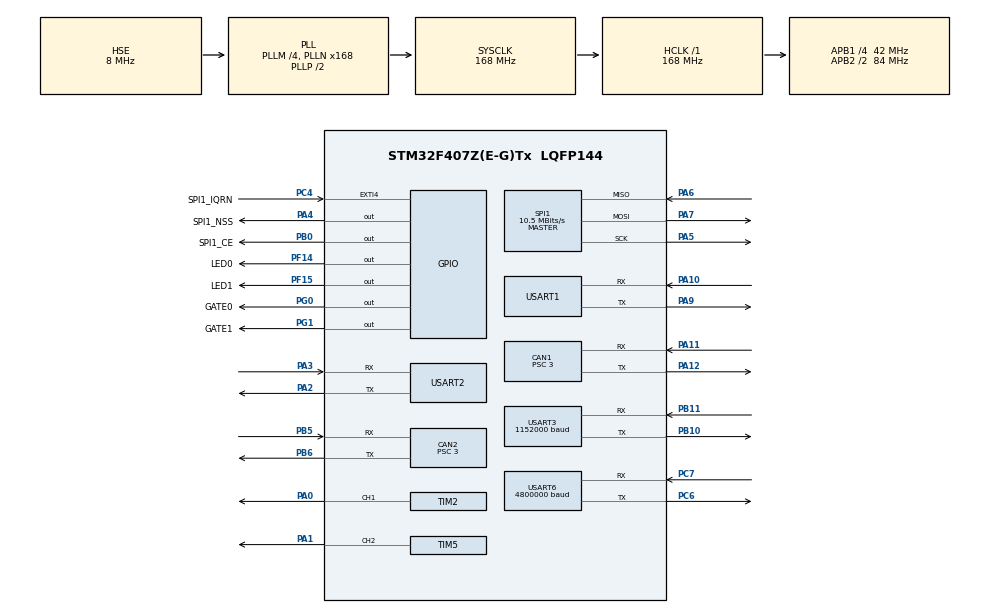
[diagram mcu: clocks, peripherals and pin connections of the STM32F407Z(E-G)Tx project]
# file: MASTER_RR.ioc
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CAN1.BS1=CAN_BS1_7TQ
CAN1.BS2=CAN_BS2_6TQ
CAN1.CalculateBaudRate=1000000
CAN1.CalculateTimeBit=1000
CAN1.CalculateTimeQuantum=71.42857142857143
CAN1.Prescaler=3
CAN2.BS1=CAN_BS1_7TQ
CAN2.BS2=CAN_BS2_6TQ
CAN2.CalculateBaudRate=1000000
CAN2.CalculateTimeBit=1000
CAN2.CalculateTimeQuantum=71.42857142857143
CAN2.Prescaler=3
Dma.Request0=USART1_TX
Dma.Request1=USART6_RX
Dma.Request2=USART6_TX
Dma.Request3=USART2_RX
Dma.Request4=USART3_RX
Dma.Request5=USART3_TX
Dma.Request6=USART2_TX
Dma.USART1_TX.0.Direction=DMA_MEMORY_TO_PERIPH
Dma.USART1_TX.0.FIFOMode=DMA_FIFOMODE_DISABLE
Dma.USART1_TX.0.Instance=DMA2_Stream7
Dma.USART1_TX.0.MemDataAlignment=DMA_MDATAALIGN_BYTE
Dma.USART1_TX.0.MemInc=DMA_MINC_ENABLE
Dma.USART1_TX.0.Mode=DMA_NORMAL
Dma.USART1_TX.0.PeriphDataAlignment=DMA_PDATAALIGN_BYTE
Dma.USART1_TX.0.PeriphInc=DMA_PINC_DISABLE
Dma.USART1_TX.0.Priority=DMA_PRIORITY_LOW
Dma.USART2_RX.3.Direction=DMA_PERIPH_TO_MEMORY
Dma.USART2_RX.3.FIFOMode=DMA_FIFOMODE_DISABLE
Dma.USART2_RX.3.Instance=DMA1_Stream5
Dma.USART2_RX.3.MemDataAlignment=DMA_MDATAALIGN_BYTE
Dma.USART2_RX.3.MemInc=DMA_MINC_ENABLE
Dma.USART2_RX.3.Mode=DMA_NORMAL
Dma.USART2_RX.3.PeriphDataAlignment=DMA_PDATAALIGN_BYTE
Dma.USART2_RX.3.PeriphInc=DMA_PINC_DISABLE
Dma.USART2_RX.3.Priority=DMA_PRIORITY_LOW
Dma.USART2_TX.6.Direction=DMA_MEMORY_TO_PERIPH
Dma.USART2_TX.6.FIFOMode=DMA_FIFOMODE_DISABLE
Dma.USART2_TX.6.Instance=DMA1_Stream6
Dma.USART2_TX.6.MemDataAlignment=DMA_MDATAALIGN_BYTE
Dma.USART2_TX.6.MemInc=DMA_MINC_ENABLE
Dma.USART2_TX.6.Mode=DMA_NORMAL
Dma.USART2_TX.6.PeriphDataAlignment=DMA_PDATAALIGN_BYTE
Dma.USART2_TX.6.PeriphInc=DMA_PINC_DISABLE
Dma.USART2_TX.6.Priority=DMA_PRIORITY_LOW
Dma.USART3_RX.4.Direction=DMA_PERIPH_TO_MEMORY
Dma.USART3_RX.4.FIFOMode=DMA_FIFOMODE_DISABLE
Dma.USART3_RX.4.Instance=DMA1_Stream1
Dma.USART3_RX.4.MemDataAlignment=DMA_MDATAALIGN_BYTE
Dma.USART3_RX.4.MemInc=DMA_MINC_ENABLE
Dma.USART3_RX.4.Mode=DMA_NORMAL
Dma.USART3_RX.4.PeriphDataAlignment=DMA_PDATAALIGN_BYTE
Dma.USART3_RX.4.PeriphInc=DMA_PINC_DISABLE
Dma.USART3_RX.4.Priority=DMA_PRIORITY_LOW
Dma.USART3_TX.5.Direction=DMA_MEMORY_TO_PERIPH
Dma.USART3_TX.5.FIFOMode=DMA_FIFOMODE_DISABLE
Dma.USART3_TX.5.Instance=DMA1_Stream3
Dma.USART3_TX.5.MemDataAlignment=DMA_MDATAALIGN_BYTE
Dma.USART3_TX.5.MemInc=DMA_MINC_ENABLE
Dma.USART3_TX.5.Mode=DMA_NORMAL
Dma.USART3_TX.5.PeriphDataAlignment=DMA_PDATAALIGN_BYTE
Dma.USART3_TX.5.PeriphInc=DMA_PINC_DISABLE
Dma.USART3_TX.5.Priority=DMA_PRIORITY_LOW
Dma.USART6_RX.1.Direction=DMA_PERIPH_TO_MEMORY
Dma.USART6_RX.1.FIFOMode=DMA_FIFOMODE_DISABLE
Dma.USART6_RX.1.Instance=DMA2_Stream1
Dma.USART6_RX.1.MemDataAlignment=DMA_MDATAALIGN_BYTE
Dma.USART6_RX.1.MemInc=DMA_MINC_ENABLE
Dma.USART6_RX.1.Mode=DMA_NORMAL
Dma.USART6_RX.1.PeriphDataAlignment=DMA_PDATAALIGN_BYTE
Dma.USART6_RX.1.PeriphInc=DMA_PINC_DISABLE
Dma.USART6_RX.1.Priority=DMA_PRIORITY_LOW
Dma.USART6_TX.2.Direction=DMA_MEMORY_TO_PERIPH
Dma.USART6_TX.2.FIFOMode=DMA_FIFOMODE_DISABLE
Dma.USART6_TX.2.Instance=DMA2_Stream6
Dma.USART6_TX.2.MemDataAlignment=DMA_MDATAALIGN_BYTE
Dma.USART6_TX.2.MemInc=DMA_MINC_ENABLE
Dma.USART6_TX.2.Mode=DMA_NORMAL
Dma.USART6_TX.2.PeriphDataAlignment=DMA_PDATAALIGN_BYTE
Dma.USART6_TX.2.PeriphInc=DMA_PINC_DISABLE
Dma.USART6_TX.2.Priority=DMA_PRIORITY_LOW
FREERTOS.Queues01=ResShootSpeedQueue,1,uint8_t,0,Dynamic,NULL,NULL;ResShootSignalQueue,1,uint8_t,0,Dynamic,NULL,NULL;ResClawPosQueue,1,uint8_t,0,Dynamic,NULL,NULL;A1ReadyQueue,1,uint8_t,0,Dynamic,NULL,NULL;NRF_RXQueue,1,RemoteRXSturct,0,Dynamic,NULL,NULL
FREERTOS.Tasks01=DebugTask,-2,256,StartDebugTask,Default,NULL,Dynamic,NULL,NULL;LEDTask,-2,128,LED,Default,NULL,Dynamic,NULL,NULL;manualCrolTask,3,512,manualCrol,Default,NULL,Dynamic,NULL,NULL;speedCtrlTask,3,1024,speedCtrl,Default,NULL,Dynamic,NULL,NULL;heartBeatTask,2,128,heartBeat,Default,NULL,Dynamic,NULL,NULL;NRF_Read,2,256,NRFTask,Default,NULL,Dynamic,NULL,NULL
FREERTOS.configENABLE_FPU=1
FREERTOS.configTOTAL_HEAP_SIZE=65535
Mcu.Family=STM32F4
Mcu.Name=STM32F407Z(E-G)Tx
Mcu.Package=LQFP144
NVIC.CAN1_RX0_IRQn=true\:5\:0\:false\:false\:true\:true\:true\:true\:true
NVIC.CAN2_RX0_IRQn=true\:5\:0\:false\:false\:true\:true\:true\:true\:true
NVIC.DMA1_Stream1_IRQn=true\:5\:0\:false\:false\:true\:true\:false\:true\:true
NVIC.DMA1_Stream3_IRQn=true\:5\:0\:false\:false\:true\:true\:false\:true\:true
NVIC.DMA1_Stream5_IRQn=true\:5\:0\:false\:false\:true\:true\:false\:true\:true
NVIC.DMA1_Stream6_IRQn=true\:5\:0\:false\:false\:true\:true\:false\:true\:true
NVIC.DMA2_Stream1_IRQn=true\:5\:0\:false\:false\:true\:true\:false\:true\:true
NVIC.DMA2_Stream6_IRQn=true\:5\:0\:false\:false\:true\:true\:false\:true\:true
NVIC.DMA2_Stream7_IRQn=true\:5\:0\:false\:false\:true\:true\:false\:true\:true
NVIC.PriorityGroup=NVIC_PRIORITYGROUP_4
NVIC.TIM7_IRQn=true\:15\:0\:false\:false\:true\:false\:false\:true\:true
NVIC.TimeBase=TIM7_IRQn
NVIC.TimeBaseIP=TIM7
NVIC.USART1_IRQn=true\:5\:0\:false\:false\:true\:true\:true\:true\:true
NVIC.USART2_IRQn=true\:5\:0\:false\:false\:true\:true\:true\:true\:true
NVIC.USART3_IRQn=true\:5\:0\:false\:false\:true\:true\:true\:true\:true
NVIC.USART6_IRQn=true\:5\:0\:false\:false\:true\:true\:true\:true\:true
PA0-WKUP.Signal=S_TIM2_CH1_ETR
PA1.GPIO_Speed=GPIO_SPEED_FREQ_HIGH
PA1.Signal=S_TIM5_CH2
PA10.Mode=Asynchronous
PA10.Signal=USART1_RX
PA11.Mode=CAN_Activate
PA11.Signal=CAN1_RX
PA12.Mode=CAN_Activate
PA12.Signal=CAN1_TX
PA13.Mode=Serial_Wire
PA13.Signal=SYS_JTMS-SWDIO
PA14.Mode=Serial_Wire
PA14.Signal=SYS_JTCK-SWCLK
PA2.Mode=Asynchronous
PA2.Signal=USART2_TX
PA3.Mode=Asynchronous
PA3.Signal=USART2_RX
PA4.GPIO_Label=SPI1_NSS
PA4.GPIO_Speed=GPIO_SPEED_FREQ_VERY_HIGH
PA4.Signal=GPIO_Output
PA5.Mode=Full_Duplex_Master
PA5.Signal=SPI1_SCK
PA6.Mode=Full_Duplex_Master
PA6.Signal=SPI1_MISO
PA7.Mode=Full_Duplex_Master
PA7.Signal=SPI1_MOSI
PA9.Mode=Asynchronous
PA9.Signal=USART1_TX
PB0.GPIO_Label=SPI1_CE
PB0.GPIO_PuPd=GPIO_NOPULL
PB0.GPIO_Speed=GPIO_SPEED_FREQ_VERY_HIGH
PB0.PinState=GPIO_PIN_SET
PB0.Signal=GPIO_Output
PB10.Mode=Asynchronous
PB10.Signal=USART3_TX
PB11.Mode=Asynchronous
PB11.Signal=USART3_RX
PB5.Mode=CAN_Activate
PB5.Signal=CAN2_RX
PB6.Mode=CAN_Activate
PB6.Signal=CAN2_TX
PC4.GPIO_Label=SPI1_IQRN
PC4.GPIO_ModeDefaultEXTI=GPIO_MODE_IT_FALLING
PC4.GPIO_PuPd=GPIO_PULLUP
PC4.Signal=GPXTI4
PC6.Mode=Asynchronous
PC6.Signal=USART6_TX
PC7.Mode=Asynchronous
PC7.Signal=USART6_RX
PF14.GPIO_Label=LED0
PF14.Signal=GPIO_Output
PF15.GPIO_Label=LED1
PF15.Signal=GPIO_Output
PG0.GPIO_Label=GATE0
PG0.PinState=GPIO_PIN_RESET
PG0.Signal=GPIO_Output
PG1.GPIO_Label=GATE1
PG1.PinState=GPIO_PIN_RESET
PG1.Signal=GPIO_Output
PH0-OSC_IN.Mode=HSE-External-Oscillator
PH0-OSC_IN.Signal=RCC_OSC_IN
PH1-OSC_OUT.Mode=HSE-External-Oscillator
PH1-OSC_OUT.Signal=RCC_OSC_OUT
ProjectManager.HeapSize=0x200
ProjectManager.StackSize=0x400
ProjectManager.TargetToolchain=STM32CubeIDE
RCC.48MHZClocksFreq_Value=84000000
RCC.AHBFreq_Value=168000000
RCC.APB1CLKDivider=RCC_HCLK_DIV4
RCC.APB1Freq_Value=42000000
RCC.APB1TimFreq_Value=84000000
RCC.APB2CLKDivider=RCC_HCLK_DIV2
RCC.APB2Freq_Value=84000000
RCC.APB2TimFreq_Value=168000000
RCC.CortexFreq_Value=168000000
RCC.HCLKFreq_Value=168000000
RCC.HSE_VALUE=8000000
RCC.HSI_VALUE=16000000
RCC.LSE_VALUE=32768
RCC.PLLM=4
RCC.PLLN=168
RCC.PLLSourceVirtual=RCC_PLLSOURCE_HSE
RCC.SYSCLKFreq_VALUE=168000000
RCC.SYSCLKSource=RCC_SYSCLKSOURCE_PLLCLK
RCC.VCOOutputFreq_Value=336000000
SH.S_TIM2_CH1_ETR.0=TIM2_CH1,PWM Generation1 CH1
SH.S_TIM5_CH2.0=TIM5_CH2,PWM Generation2 CH2
SPI1.BaudRatePrescaler=SPI_BAUDRATEPRESCALER_8
SPI1.CalculateBaudRate=10.5 MBits/s
SPI1.Direction=SPI_DIRECTION_2LINES
SPI1.Mode=SPI_MODE_MASTER
SPI1.VirtualType=VM_MASTER
TIM2.Channel-PWM\ Generation1\ CH1=TIM_CHANNEL_1
TIM2.Period=2000
TIM2.Prescaler=840-1
TIM5.AutoReloadPreload=TIM_AUTORELOAD_PRELOAD_ENABLE
TIM5.Channel-PWM\ Generation2\ CH2=TIM_CHANNEL_2
TIM5.OCFastMode_PWM-PWM\ Generation2\ CH2=TIM_OCFAST_ENABLE
TIM5.Period=2000
TIM5.Prescaler=840-1
TIM5.Pulse-PWM\ Generation2\ CH2=0
USART1.VirtualMode=VM_ASYNC
USART2.VirtualMode=VM_ASYNC
USART3.BaudRate=1152000
USART3.VirtualMode=VM_ASYNC
USART6.BaudRate=4800000
USART6.VirtualMode=VM_ASYNC
VP_FREERTOS_VS_CMSIS_V1.Mode=CMSIS_V1
VP_SYS_VS_tim7.Mode=TIM7
VP_TIM2_VS_ClockSourceINT.Mode=Internal
VP_TIM5_VS_ClockSourceINT.Mode=Internal
board=custom

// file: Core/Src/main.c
/* USER CODE BEGIN Header */
/**
  ******************************************************************************
  * @file           : main.c
  * @brief          : Main program body
  ******************************************************************************
  * @attention
  *
  * Copyright (c) 2022 STMicroelectronics.
  * All rights reserved.
  *
  * This software is licensed under terms that can be found in the LICENSE file
  * in the root directory of this software component.
  * If no LICENSE file comes with this software, it is provided AS-IS.
  *
  ******************************************************************************
  */
/* USER CODE END Header */
#include "main.h"
#include "cmsis_os.h"
#include "can.h"
#include "dma.h"
#include "spi.h"
#include "tim.h"
#include "usart.h"
#include "gpio.h"

/* USER CODE BEGIN Includes */
//#include "pid.h"
/* USER CODE END Includes */

void SystemClock_Config(void);
void MX_FREERTOS_Init(void);
void  MX_FREERTOS_Init_2();

int main(void)
{

  /* MCU Configuration--------------------------------------------------------*/

  /* Reset of all peripherals, Initializes the Flash interface and the Systick. */
  HAL_Init();

  /* Configure the system clock */
  SystemClock_Config();

  /* Initialize all configured peripherals */
  MX_GPIO_Init();
  MX_DMA_Init();
  MX_CAN1_Init();
  MX_CAN2_Init();
  MX_SPI1_Init();
  MX_USART1_UART_Init();
  MX_USART6_UART_Init();
  MX_USART2_UART_Init();
  MX_USART3_UART_Init();
  MX_TIM5_Init();
  MX_TIM2_Init();
  /* USER CODE BEGIN 2 */

  HAL_Delay(200);
  /* USER CODE END 2 */
  /* Call init function for freertos objects (in freertos.c) */
  MX_FREERTOS_Init();

  //MX_FREERTOS_Init_2();
  /* Start scheduler */
  osKernelStart();
  /* We should never get here as control is now taken by the scheduler */
  /* Infinite loop */
  while (1)
  {

  }
}

void SystemClock_Config(void)
{
  RCC_OscInitTypeDef RCC_OscInitStruct = {0};
  RCC_ClkInitTypeDef RCC_ClkInitStruct = {0};

  /** Configure the main internal regulator output voltage
  */
  __HAL_RCC_PWR_CLK_ENABLE();
  __HAL_PWR_VOLTAGESCALING_CONFIG(PWR_REGULATOR_VOLTAGE_SCALE1);

  /** Initializes the RCC Oscillators according to the specified parameters
  * in the RCC_OscInitTypeDef structure.
  */
  RCC_OscInitStruct.OscillatorType = RCC_OSCILLATORTYPE_HSE;
  RCC_OscInitStruct.HSEState = RCC_HSE_ON;
  RCC_OscInitStruct.PLL.PLLState = RCC_PLL_ON;
  RCC_OscInitStruct.PLL.PLLSource = RCC_PLLSOURCE_HSE;
  RCC_OscInitStruct.PLL.PLLM = 4;
  RCC_OscInitStruct.PLL.PLLN = 168;
  RCC_OscInitStruct.PLL.PLLP = RCC_PLLP_DIV2;
  RCC_OscInitStruct.PLL.PLLQ = 4;
  if (HAL_RCC_OscConfig(&RCC_OscInitStruct) != HAL_OK)
  {
    Error_Handler();
  }

  /** Initializes the CPU, AHB and APB buses clocks
  */
  RCC_ClkInitStruct.ClockType = RCC_CLOCKTYPE_HCLK|RCC_CLOCKTYPE_SYSCLK
                              |RCC_CLOCKTYPE_PCLK1|RCC_CLOCKTYPE_PCLK2;
  RCC_ClkInitStruct.SYSCLKSource = RCC_SYSCLKSOURCE_PLLCLK;
  RCC_ClkInitStruct.AHBCLKDivider = RCC_SYSCLK_DIV1;
  RCC_ClkInitStruct.APB1CLKDivider = RCC_HCLK_DIV4;
  RCC_ClkInitStruct.APB2CLKDivider = RCC_HCLK_DIV2;

  if (HAL_RCC_ClockConfig(&RCC_ClkInitStruct, FLASH_LATENCY_5) != HAL_OK)
  {
    Error_Handler();
  }
}

void HAL_TIM_PeriodElapsedCallback(TIM_HandleTypeDef *htim)
{
  if (htim->Instance == TIM7) {
    HAL_IncTick();
  }
}

void Error_Handler(void)
{
  __disable_irq();
  while (1)
  {
  }
}

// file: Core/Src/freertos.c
/* USER CODE BEGIN Header */
/**
  ******************************************************************************
  * File Name          : freertos.c
  * Description        : Code for freertos applications
  ******************************************************************************
  * @attention
  *
  * Copyright (c) 2022 STMicroelectronics.
  * All rights reserved.
  *
  * This software is licensed under terms that can be found in the LICENSE file
  * in the root directory of this software component.
  * If no LICENSE file comes with this software, it is provided AS-IS.
  *
  ******************************************************************************
  */
/* USER CODE END Header */

#include "FreeRTOS.h"
#include "task.h"
#include "main.h"
#include "cmsis_os.h"

/* USER CODE BEGIN Includes */
#include "usart.h"
#include "gpio.h"
#include "printf.h"
#include "pid.h"
#include "laser.h"
#include "Bassel_Run.h"
#include "Omni_Classis_task.h"
/* USER CODE END Includes */

/* USER CODE BEGIN PTD */
OmniWheel FourWheel;
Target FourTarget;
FinalVelocity Fourv;

pointStruct target_point = {0,0,0};
extern BasselLine_3  Bassel_Line;
/* USER CODE END PTD */

/* USER CODE BEGIN PD */
#define ABS(x)  ((x>0)? (x): -(x))

#define CAMERA_FACTOR  1

pointStruct target = {651,75.5f,0};

int32_t A1AutoFlag = 0;

int32_t AutoVisionFlag = 0;

int32_t clawHoldFlag = 0;

int8_t flag = 0;

float yawAngle = 0;

/* USER CODE END PD */

/* USER CODE BEGIN Variables */

uint8_t null;

/* USER CODE END Variables */
osThreadId DebugTaskHandle;
osThreadId RiseAndYawTaskHandle;
osThreadId LEDTaskHandle;
osThreadId ClawTaskHandle;
osThreadId A1SPDLimitTasHandle;
osThreadId manualCrolTaskHandle;
osThreadId speedCtrlTaskHandle;
osThreadId heartBeatTaskHandle;
osThreadId laserLocTaskHandle;
osThreadId NRF_ReadHandle;
osMessageQId ResShootSpeedQueueHandle;
osMessageQId ResShootSignalQueueHandle;
osMessageQId ResClawPosQueueHandle;
osMessageQId A1ReadyQueueHandle;
osMessageQId NRF_RXQueueHandle;

void StartDebugTask(void const * argument);
void RiseAndYaw(void const * argument);
void LED(void const * argument);
void Claw(void const * argument);
void A1SpeedLimit(void const * argument);
void manualCrol(void const * argument);
void speedCtrl(void const * argument);
void heartBeat(void const * argument);
void laserLoc(void const * argument);
void NRFTask(void const * argument);

void MX_FREERTOS_Init(void); /* (MISRA C 2004 rule 8.1) */

/* GetIdleTaskMemory prototype (linked to static allocation support) */
void vApplicationGetIdleTaskMemory( StaticTask_t **ppxIdleTaskTCBBuffer, StackType_t **ppxIdleTaskStackBuffer, uint32_t *pulIdleTaskStackSize );

/* USER CODE BEGIN GET_IDLE_TASK_MEMORY */
static StaticTask_t xIdleTaskTCBBuffer;
static StackType_t xIdleStack[configMINIMAL_STACK_SIZE];

void vApplicationGetIdleTaskMemory( StaticTask_t **ppxIdleTaskTCBBuffer, StackType_t **ppxIdleTaskStackBuffer, uint32_t *pulIdleTaskStackSize )
{
  *ppxIdleTaskTCBBuffer = &xIdleTaskTCBBuffer;
  *ppxIdleTaskStackBuffer = &xIdleStack[0];
  *pulIdleTaskStackSize = configMINIMAL_STACK_SIZE;
  /* place for user code */
}
/* USER CODE END GET_IDLE_TASK_MEMORY */

void MX_FREERTOS_Init(void) {

  /* Create the queue(s) */
  /* definition and creation of ResShootSpeedQueue */
  osMessageQDef(ResShootSpeedQueue, 1, uint8_t);
  ResShootSpeedQueueHandle = osMessageCreate(osMessageQ(ResShootSpeedQueue), NULL);

  /* definition and creation of ResShootSignalQueue */
  osMessageQDef(ResShootSignalQueue, 1, uint8_t);
  ResShootSignalQueueHandle = osMessageCreate(osMessageQ(ResShootSignalQueue), NULL);

  /* definition and creation of ResClawPosQueue */
  osMessageQDef(ResClawPosQueue, 1, uint8_t);
  ResClawPosQueueHandle = osMessageCreate(osMessageQ(ResClawPosQueue), NULL);

  /* definition and creation of A1ReadyQueue */
  osMessageQDef(A1ReadyQueue, 1, uint8_t);
  A1ReadyQueueHandle = osMessageCreate(osMessageQ(A1ReadyQueue), NULL);

  /* definition and creation of NRF_RXQueue */
  osMessageQDef(NRF_RXQueue, 1, RemoteRXSturct);
  NRF_RXQueueHandle = osMessageCreate(osMessageQ(NRF_RXQueue), NULL);

  /* Create the thread(s) */
  /* definition and creation of DebugTask */
  osThreadDef(DebugTask, StartDebugTask, osPriorityLow, 0, 256);
  DebugTaskHandle = osThreadCreate(osThread(DebugTask), NULL);

  /* definition and creation of RiseAndYawTask */
  osThreadDef(RiseAndYawTask, RiseAndYaw, osPriorityAboveNormal, 0, 512);
  RiseAndYawTaskHandle = osThreadCreate(osThread(RiseAndYawTask), NULL);

  /* definition and creation of LEDTask */
  osThreadDef(LEDTask, LED, osPriorityLow, 0, 128);
  LEDTaskHandle = osThreadCreate(osThread(LEDTask), NULL);

  /* definition and creation of ClawTask */
  osThreadDef(ClawTask, Claw, osPriorityAboveNormal, 0, 512);
  ClawTaskHandle = osThreadCreate(osThread(ClawTask), NULL);

  /* definition and creation of A1SPDLimitTas */
  osThreadDef(A1SPDLimitTas, A1SpeedLimit, osPriorityHigh, 0, 256);
  A1SPDLimitTasHandle = osThreadCreate(osThread(A1SPDLimitTas), NULL);

  /* definition and creation of manualCrolTask */
  osThreadDef(manualCrolTask, manualCrol, osPriorityRealtime, 0, 512);
  manualCrolTaskHandle = osThreadCreate(osThread(manualCrolTask), NULL);

  /* definition and creation of speedCtrlTask */
  osThreadDef(speedCtrlTask, speedCtrl, osPriorityRealtime, 0, 1024);
  speedCtrlTaskHandle = osThreadCreate(osThread(speedCtrlTask), NULL);

  /* definition and creation of heartBeatTask */
  osThreadDef(heartBeatTask, heartBeat, osPriorityHigh, 0, 128);
  heartBeatTaskHandle = osThreadCreate(osThread(heartBeatTask), NULL);

  /* definition and creation of laserLocTask */
  osThreadDef(laserLocTask, laserLoc, osPriorityHigh, 0, 512);
  laserLocTaskHandle = osThreadCreate(osThread(laserLocTask), NULL);

  /* definition and creation of NRF_Read */
  osThreadDef(NRF_Read, NRFTask, osPriorityHigh, 0, 256);
  NRF_ReadHandle = osThreadCreate(osThread(NRF_Read), NULL);

  /* USER CODE BEGIN RTOS_THREADS */

    vTaskSuspend(A1SPDLimitTasHandle);
    vTaskSuspend(manualCrolTaskHandle);
    vTaskSuspend(speedCtrlTaskHandle);
    vTaskSuspend(heartBeatTaskHandle);
    vTaskSuspend(ClawTaskHandle);
    vTaskSuspend(RiseAndYawTaskHandle);
    vTaskSuspend(NRF_ReadHandle);

  /* add threads, ... */
  //挂起任务，等接收到nrf消息再进来
    vTaskSuspend(laserLocTaskHandle);
  /* USER CODE END RTOS_THREADS */

}

void StartDebugTask(void const * argument)
{
  /* USER CODE BEGIN StartDebugTask */

//    while(NRF24L01_Check())
//    {
//
//    }
//    NRF24L01_RX_Mode();
//    usart_printf("NRF READY!\r\n");
//    HAL_TIM_PWM_Start(&htim2, TIM_CHANNEL_1);
//    CLAW_OPEN();

/*    while(NRF24L01_Check())
    {
        NRF24L01_RX_Mode();
    }
    usart_printf("NRF READY!\r\n");*/
    vTaskResume(speedCtrlTaskHandle);
    vTaskResume(heartBeatTaskHandle);
//    vTaskResume(NRF_ReadHandle);
    /* Infinite loop */
    for(;;)
    {
//        usart_printf("%f,%f,%f,%f\n",locater.pos_x,locater.pos_y,Fourv.v_r,locater.angle);
        osDelay(50);
        LED1_Flashing;
    }
  /* USER CODE END StartDebugTask */
}

void RiseAndYaw(void const * argument)
{
    for(;;)
    {
        osDelay(1);
    }
}

void LED(void const * argument)
{
  /* USER CODE BEGIN LED */
  /* Infinite loop */
  for(;;)
  {
      LED0_Flashing;
      osDelay(500);
  }
  /* USER CODE END LED */
}

void Claw(void const * argument)
{
  for(;;)
  {
      osDelay(1);
  }
}

void A1SpeedLimit(void const * argument)
{
  /* USER CODE BEGIN A1SpeedLimit */
    /** 最大转速为1000*step/delay(plus/s) **/

    /* Infinite loop */
    for(;;)
    {
        osDelay(1);
    }
  /* USER CODE END A1SpeedLimit */
}

void manualCrol(void const * argument)
{
  /* USER CODE BEGIN manualCrol */

    /* Infinite loop */

    for(;;)
    {

        osDelay(10);
    }
  /* USER CODE END manualCrol */
}

void speedCtrl(void const * argument)
{
  /* USER CODE BEGIN speedCtrl */
    RemoteRXSturct nrfRX;

    PID_TypeDef PID_x;
    PID_TypeDef PID_y;
    PID_TypeDef PID_r;

    pid_param_init(&PID_x,26,200,10,20,0,0,0.004f,0.0f,0.055f);
    pid_param_init(&PID_y,26,200,10,20,0,0,0.004f,0.0f,0.055f);
    pid_param_init(&PID_r,26,200,10,20,0,0,0.004f,0.0f,0.055f);

    osDelay(1400);

//    Update_Bassel_Line(&Bassel_Line3,&Control_point,4);
    /* Infinite loop */
    for(;;)
    {

        Run_Point(&PID_x,&PID_y,&PID_r,500.0f,500.0f,0.0f,360.0f,1,0);

//
//        target_point = Update_Target_Point(&Bassel_Line3);
////        usart_printf("%.2f,%.2f,%.2f\n",target_point.x,target_point.y,Bassel_Line.Next_Point.t);
//        Run_Point(&PID_x,&PID_y,&PID_r,target_point.x,target_point.y,0.0f,0.0f,0,1);
        osDelay(10);
    }     /* USER CODE END speedCtrl */
}

void heartBeat(void const * argument)
{
  /* USER CODE BEGIN heartBeat */
  /* Infinite loop */
  for(;;)
  {
      if(NRFHeartBeat == 0)
      {
          //vTaskSuspend();
          //具体安全防范措施都在speedCtrl任务里执行，就他最危险
      }
      else if(NRFHeartBeat > 0)
      {
          NRFHeartBeat--;
      }
    osDelay(20);
  }
  /* USER CODE END heartBeat */
}

void laserLoc(void const * argument)
{
  /* USER CODE BEGIN laserLoc */
    int32_t counting=0;
    int32_t tomerCounting=0;
    pid_param_init(&laser_loc_pid,8,0.5f,6,2,0,0,0.7f,0.15f,0);
  /* Infinite loop */
    for (;;)
    {
        //自动调整位置，正对墙面
        counting=0;
        tomerCounting = 0;
        do {
            tomerCounting++;
            Laser_Loc();
            osDelay(20);
            if(ABS(laser_loc_data[difference]) <= 0.5f)
                counting++;
            //usart_printf("%f,%f\n",laser_loc_data[difference],laser_loc_data[distance]);
        }while ( counting < 10 || tomerCounting > 250);

        laser_loc_pid.iout = 0;
        //检测是否靠墙角,两个位置需要不同的定位基准
        if (laser_data_23.float_16[0] <= 110.0f)
        {
            //小于50cm视为在墙角
            locater.pos_y_base += 600 - 24 - laser_data_23.float_16[0] - locater.pos_y;
            locater.pos_x_base += 750 + 24.5f + laser_loc_data[distance] - locater.pos_x;
        }
        else
        {
            locater.pos_y_base += 450 - laser_loc_data[distance] - locater.pos_y;
        }

        target.x = locater.pos_x;
        target.y = locater.pos_y;
        target.angle = locater.continuousAngle;
        //usart_printf("%f,%f,%f,%f\n",locater.pos_x_base,locater.pos_y_base,laser_loc_data[distance],laser_data_23.float_16[0]);
        vTaskResume(speedCtrlTaskHandle);
        vTaskSuspend(laserLocTaskHandle);
    }
  /* USER CODE END laserLoc */
}

void NRFTask(void const * argument)
{
//    while(NRF24L01_Check())
//    {
//
//    }
//    HAL_GPIO_WritePin(GPIOF, LED1_Pin, GPIO_PIN_RESET);
//    NRF24L01_RX_Mode();
  /* USER CODE BEGIN NRFTask */
    static uint8_t rc_data[RX_PLOAD_WIDTH] = {0};     //遥控器控制数组
    rc_data[8] = 100;
    rc_data[9] = 127;
    /* Infinite loop */
  for(;;)
  {
      if(NRF24L01_RxPacket(rc_data) ==0)
      {
          static RemoteRXSturct RemoteRX;
          //获取摇杆电位值和按键值
          RemoteRX.lx = rc_data[0] - 128;
          RemoteRX.ly = rc_data[1] - 128;
          RemoteRX.rx = rc_data[2] - 128;
          RemoteRX.ry = rc_data[3] - 128;
          RemoteRX.command = rc_data[4];
          RemoteRX.status = rc_data[5];
          RemoteRX.speed = rc_data[6];
          RemoteRX.height = rc_data[7];
          RemoteRX.yaw = rc_data[8] - 100;
          RemoteRX.midValue = (uint16_t)rc_data[9] - 127;
          midValue = VISION_MIDVALUE + RemoteRX.midValue;

          if(ABS(RemoteRX.rx) < 10) RemoteRX.rx = 0;
          if(ABS(RemoteRX.ry) < 10) RemoteRX.ry = 0;
          if(ABS(RemoteRX.lx) < 10) RemoteRX.lx = 0;

          if(RemoteRX.rx > 100) RemoteRX.rx = 100;
          if(RemoteRX.ry > 100) RemoteRX.ry = 100;
          if(RemoteRX.lx > 100) RemoteRX.lx = 100;

          if(RemoteRX.rx < -100) RemoteRX.rx = -100;
          if(RemoteRX.ry < -100) RemoteRX.ry = -100;
          if(RemoteRX.lx < -100) RemoteRX.lx = -100;

//          RemoteRX.lx = -RemoteRX.lx;
          RemoteRX.ly = -RemoteRX.ly;

          Remote_Control(&RemoteRX);

          usart_printf("%d\r\n",RemoteRX.rx);
          //usart_printf("%d",RemoteRX.command);
          //NRFHeartBeat = 30;

          //把摇杆电位值发送到摇杆队列中
          //xQueueOverwrite(NRF_RXQueueHandle, &RemoteRX);//向队列中发送遥控器摇杆电位值

          /*获取按键值以及判断按键值的变化，并发送到遥控器队列中*/
          //xQueueOverwriteFromISR(rc_keyHandle, &key_press, 0);     //向队列中发送遥控器按键值

          /*在中断中判断按键键值的变化，直接执行一些简单的操作*/

          /*使用can1向底盘的板子发送遥控器的数据8*/
          //send_rc_data_to_chassis(rc_data);

          //usart_printf("%d,%d,%d,%d\r\n",RemoteRX.lx,RemoteRX.ly,RemoteRX.rx,RemoteRX.ry,RemoteRX.command,RemoteRX.status);

      }
       osDelay(10);
  }
  /* USER CODE END NRFTask */
}

/* USER CODE BEGIN Application */
void MX_FREERTOS_Init_2()
{
    osThreadDef(NRF_Read, NRFTask, osPriorityHigh, 0, 256);
    NRF_ReadHandle = osThreadCreate(osThread(NRF_Read), NULL);

}
/* USER CODE END Application */
